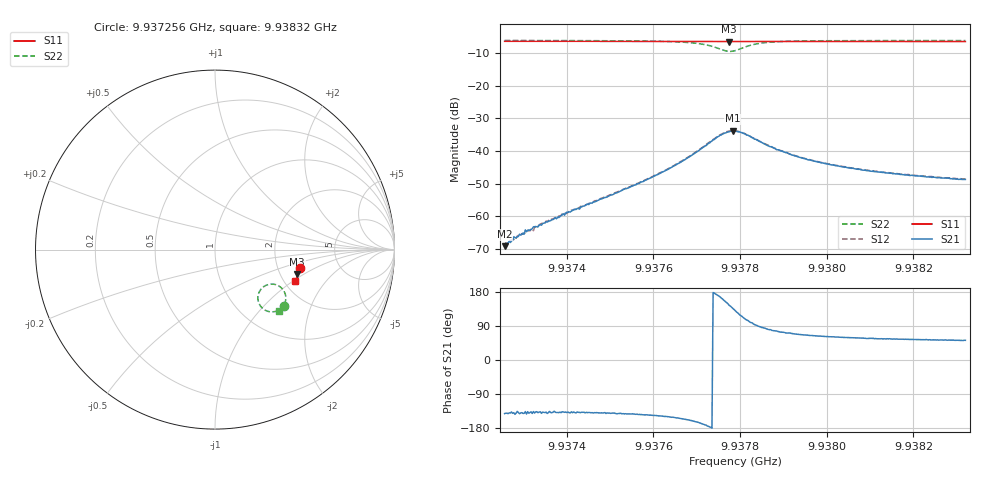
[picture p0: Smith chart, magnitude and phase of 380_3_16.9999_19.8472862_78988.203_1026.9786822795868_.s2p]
#  HZ  S  RI  R  50.00
! Rohde & Schwarz Vector Network Analyzer
! Rohde-Schwarz,ZNB20-2Port,1311601062101988,3.16
! Created: UTC 3/20/2024, 11:09:07 PM
! freq[Hz]  re:S11  im:S11  re:S21  im:S21  re:S12  im:S12  re:S22  im:S22
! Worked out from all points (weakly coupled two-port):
!   401 points, 9.937256 GHz to 9.93832 GHz, reference 50 ohm
!   highest |S21| = -33.74 dB at 9.937783 GHz (marker M1); lowest = -69.2 dB at 9.937256 GHz (marker M2)
!   lowest |S11| = -6.4 dB at 9.937775 GHz (marker M3), VSWR 2.84, Z = 123 - j44.3 ohm
!   |S11| at or under -10 dB: nowhere
!   |S22| runs from -9.4 to -6.1 dB; largest |S21 - S12| = 0.00079
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9.9372565e9  0.4722 -0.1052  -0.000271 -0.000217  -0.000291 -0.000204  0.3868 -0.3139
9.9372857e9  0.4715 -0.1074  -0.000344 -0.000338  -0.000382 -0.000316  0.3847 -0.3157
9.9373096e9  0.4711 -0.1089  -0.000444 -0.000424  -0.000463 -0.000361  0.383 -0.3175
9.9373415e9  0.4703 -0.111  -0.000564 -0.000463  -0.000569 -0.000519  0.3804 -0.3199
9.9373814e9  0.4696 -0.1138  -0.000718 -0.000629  -0.000745 -0.000676  0.3771 -0.3228
9.9374027e9  0.4691 -0.1152  -0.000839 -0.000778  -0.000847 -0.000778  0.3749 -0.3246
9.9374346e9  0.4685 -0.1174  -0.00103 -0.000943  -0.00106 -0.000917  0.3716 -0.3271
9.9375622e9  0.4656 -0.126  -0.00249 -0.00189  -0.00259 -0.00186  0.3528 -0.3388
9.9376127e9  0.4643 -0.1293  -0.00377 -0.0024  -0.0039 -0.0024  0.3397 -0.3439
9.9376659e9  0.4628 -0.1329  -0.00631 -0.00296  -0.00645 -0.00292  0.3164 -0.347
9.9377191e9  0.4609 -0.1364  -0.0119 -0.00179  -0.0121 -0.00165  0.272 -0.3328
9.937751e9  0.4595 -0.138  -0.0166 0.00328  -0.0168 0.00393  0.2408 -0.2857
9.9377749e9  0.4586 -0.1385  -0.0161 0.0116  -0.0163 0.012  0.2538 -0.224
9.9377829e9  0.4586 -0.1387  -0.0149 0.0142  -0.0145 0.0146  0.2705 -0.2071
9.9377882e9  0.4586 -0.1389  -0.0133 0.0154  -0.0129 0.0159  0.284 -0.1992
9.9378095e9  0.459 -0.1399  -0.00633 0.0173  -0.006 0.0178  0.3389 -0.1952
9.9378467e9  0.459 -0.1423  0.000592 0.0139  0.00105 0.0139  0.3859 -0.2343
9.9378892e9  0.4583 -0.1456  0.00275 0.0101  0.00288 0.00998  0.3947 -0.2696
9.9379663e9  0.4565 -0.151  0.00307 0.00643  0.00324 0.00644  0.3886 -0.301
9.9380354e9  0.4547 -0.1556  0.00288 0.00497  0.00304 0.00498  0.3817 -0.3154
9.9381445e9  0.4517 -0.1628  0.00255 0.0038  0.0027 0.00379  0.3719 -0.329
9.9383199e9  0.4468 -0.1739  0.00226 0.00289  0.00235 0.00288  0.359 -0.3437
